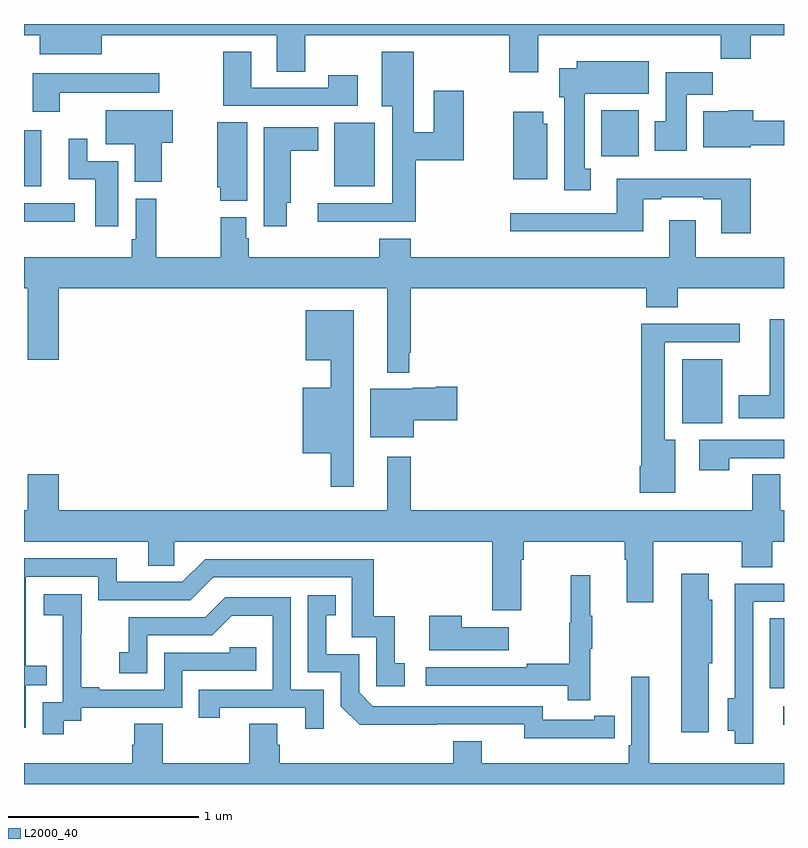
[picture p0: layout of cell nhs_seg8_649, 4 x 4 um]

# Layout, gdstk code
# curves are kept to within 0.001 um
import gdstk
lib = gdstk.Library(unit=1e-6, precision=1e-09)
def R(c, l, rs):  # rectangles x0, y0, x1, y1
    for r in rs: c.add(gdstk.rectangle(r[:2], r[2:], *l))
def P(c, l, *ps):  # polygons
    for p in ps: c.add(gdstk.Polygon(p, *l))
L2000_40 = (2000, 40)

nhs_seg8_649 = lib.new_cell('nhs_seg8_649')
R(nhs_seg8_649, L2000_40, [(156.996,1106.213,157,1106.31), (156.926,1106.403,157,1106.773), (156.464,1107.8,156.676,1108.135), (153,1109.045,153.091,1109.341), (154.634,1109.045,154.846,1109.38), (156.038,1109.204,156.235,1109.446)])
P(nhs_seg8_649, L2000_40, [(155.707,1109.84),(156.667,1109.84),(156.667,1109.716),(156.824,1109.716),(156.824,1109.84),(157,1109.84),(157,1109.9),(153,1109.9),(153,1109.84),(153.083,1109.84),(153.083,1109.741),(153.409,1109.741),(153.409,1109.84),(154.331,1109.84),(154.331,1109.65),(154.479,1109.65),(154.479,1109.84),(155.555,1109.84),(155.555,1109.646),(155.707,1109.646)],
  [(154.756,1109.629),(154.6,1109.629),(154.6,1109.565),(154.195,1109.565),(154.195,1109.755),(154.048,1109.755),(154.048,1109.469),(154.756,1109.469)],
  [(155.063,1109.183),(155.314,1109.183),(155.314,1109.548),(155.156,1109.548),(155.156,1109.33),(155.05,1109.33),(155.05,1109.755),(154.883,1109.755),(154.883,1109.468),(154.937,1109.468),(154.937,1108.956),(154.545,1108.956),(154.545,1108.859),(155.063,1108.859)],
  [(155.983,1109.138),(155.95,1109.138),(155.95,1109.534),(156.289,1109.534),(156.289,1109.704),(155.909,1109.704),(155.909,1109.668),(155.816,1109.668),(155.816,1109.514),(155.843,1109.514),(155.843,1109.025),(155.983,1109.025)],
  [(156.487,1109.528),(156.626,1109.528),(156.626,1109.646),(156.377,1109.646),(156.377,1109.388),(156.32,1109.388),(156.32,1109.232),(156.487,1109.232)],
  [(153.187,1109.537),(153.712,1109.537),(153.712,1109.641),(153.047,1109.641),(153.047,1109.439),(153.187,1109.439)],
  [(156.826,1109.263),(157,1109.263),(157,1109.392),(156.839,1109.392),(156.839,1109.446),(156.708,1109.446),(156.708,1109.44),(156.575,1109.44),(156.575,1109.252),(156.826,1109.252)],
  [(153.724,1109.276),(153.784,1109.276),(153.784,1109.446),(153.431,1109.446),(153.431,1109.267),(153.584,1109.267),(153.584,1109.07),(153.724,1109.07)],
  [(155.755,1109.376),(155.734,1109.376),(155.734,1109.437),(155.576,1109.437),(155.576,1109.084),(155.755,1109.084)],
  [(154.174,1109.384),(154.016,1109.384),(154.016,1109.04),(154.033,1109.04),(154.033,1108.969),(154.174,1108.969)],
  [(154.384,1108.959),(154.405,1108.959),(154.405,1109.234),(154.549,1109.234),(154.549,1109.356),(154.262,1109.356),(154.262,1108.836),(154.384,1108.836)],
  [(153.496,1109.178),(153.333,1109.178),(153.333,1109.296),(153.236,1109.296),(153.236,1109.082),(153.374,1109.082),(153.374,1108.836),(153.496,1108.836)],
  [(156.824,1109.086),(156.119,1109.086),(156.119,1108.905),(155.559,1108.905),(155.559,1108.808),(156.259,1108.808),(156.259,1108.977),(156.355,1108.977),(156.355,1108.989),(156.575,1108.989),(156.575,1108.977),(156.671,1108.977),(156.671,1108.8),(156.824,1108.8)],
  [(156.395,1108.672),(155.036,1108.672),(155.036,1108.771),(154.871,1108.771),(154.871,1108.672),(154.184,1108.672),(154.184,1108.773),(154.171,1108.773),(154.171,1108.884),(154.036,1108.884),(154.036,1108.672),(153.697,1108.672),(153.697,1108.981),(153.588,1108.981),(153.588,1108.768),(153.568,1108.768),(153.568,1108.672),(153,1108.672),(153,1108.508),(153.02,1108.508),(153.02,1108.134),(153.184,1108.134),(153.184,1108.508),(154.913,1108.508),(154.913,1108.064),(155.027,1108.064),(155.027,1108.171),(155.035,1108.171),(155.035,1108.508),(156.275,1108.508),(156.275,1108.409),(156.44,1108.409),(156.44,1108.508),(157,1108.508),(157,1108.672),(156.535,1108.672),(156.535,1108.867),(156.395,1108.867)],
  [(153.268,1108.956),(153,1108.956),(153,1108.86),(153.031,1108.86),(153.031,1108.859),(153.268,1108.859)],
  [(154.735,1108.393),(154.484,1108.393),(154.484,1108.13),(154.614,1108.13),(154.614,1107.985),(154.466,1107.985),(154.466,1107.641),(154.614,1107.641),(154.614,1107.465),(154.735,1107.465)],
  [(157,1108.345),(156.926,1108.345),(156.926,1107.946),(156.761,1107.946),(156.761,1107.824),(157,1107.824)],
  [(156.427,1107.712),(156.373,1107.712),(156.373,1108.224),(156.766,1108.224),(156.766,1108.322),(156.248,1108.322),(156.248,1107.573),(156.242,1107.573),(156.242,1107.434),(156.427,1107.434)],
  [(155.05,1107.814),(155.281,1107.814),(155.281,1107.992),(155.168,1107.992),(155.168,1107.985),(155.046,1107.985),(155.046,1107.979),(154.823,1107.979),(154.823,1107.725),(155.05,1107.725)],
  [(156.711,1107.615),(157,1107.615),(157,1107.711),(156.555,1107.711),(156.555,1107.552),(156.711,1107.552)],
  [(155.617,1107.08),(155.63,1107.08),(155.63,1107.176),(156.161,1107.176),(156.161,1107.08),(156.173,1107.08),(156.173,1106.856),(156.313,1106.856),(156.313,1107.176),(156.778,1107.176),(156.778,1107.04),(156.938,1107.04),(156.938,1107.176),(157,1107.176),(157,1107.34),(156.979,1107.34),(156.979,1107.53),(156.832,1107.53),(156.832,1107.34),(155.035,1107.34),(155.035,1107.622),(154.913,1107.622),(154.913,1107.34),(153.184,1107.34),(153.184,1107.529),(153.02,1107.529),(153.02,1107.34),(153,1107.34),(153,1107.176),(153.653,1107.176),(153.653,1107.049),(153.792,1107.049),(153.792,1107.176),(155.465,1107.176),(155.465,1106.814),(155.617,1106.814)],
  [(153.009,1106.421),(153.119,1106.421),(153.119,1106.522),(153.009,1106.522),(153.009,1106.991),(153.39,1106.991),(153.39,1106.868),(153.876,1106.868),(153.996,1106.988),(154.725,1106.988),(154.725,1106.673),(154.854,1106.673),(154.854,1106.415),(155.005,1106.415),(155.005,1106.535),(154.952,1106.535),(154.952,1106.782),(154.841,1106.782),(154.841,1107.084),(153.954,1107.084),(153.834,1106.964),(153.487,1106.964),(153.487,1107.087),(153,1107.087),(153,1106.196),(153.009,1106.196)],
  [(156.604,1106.535),(156.622,1106.535),(156.622,1106.871),(156.604,1106.871),(156.604,1107.007),(156.458,1107.007),(156.458,1106.172),(156.604,1106.172)],
  [(155.981,1106.611),(155.992,1106.611),(155.992,1106.785),(155.981,1106.785),(155.981,1106.998),(155.878,1106.998),(155.878,1106.748),(155.871,1106.748),(155.871,1106.534),(155.647,1106.534),(155.647,1106.514),(155.115,1106.514),(155.115,1106.418),(155.863,1106.418),(155.863,1106.34),(155.981,1106.34)],
  [(156.838,1106.334),(156.837,1106.334),(156.837,1106.859),(157,1106.859),(157,1106.955),(156.741,1106.955),(156.741,1106.351),(156.704,1106.351),(156.704,1106.18),(156.74,1106.18),(156.74,1106.112),(156.838,1106.112)],
  [(153.208,1106.233),(153.3,1106.233),(153.3,1106.301),(153.834,1106.301),(153.834,1106.496),(154.223,1106.496),(154.223,1106.619),(154.083,1106.619),(154.083,1106.592),(153.738,1106.592),(153.738,1106.397),(153.397,1106.397),(153.397,1106.41),(153.302,1106.41),(153.302,1106.693),(153.303,1106.693),(153.303,1106.899),(153.105,1106.899),(153.105,1106.789),(153.203,1106.789),(153.203,1106.561),(153.204,1106.561),(153.204,1106.331),(153.099,1106.331),(153.099,1106.163),(153.208,1106.163)],
  [(156.002,1106.142),(156.11,1106.142),(156.11,1106.258),(156.002,1106.258),(156.002,1106.238),(155.73,1106.238),(155.73,1106.31),(154.836,1106.31),(154.764,1106.382),(154.764,1106.583),(154.591,1106.583),(154.591,1106.787),(154.64,1106.787),(154.64,1106.893),(154.494,1106.893),(154.494,1106.487),(154.668,1106.487),(154.668,1106.31),(154.766,1106.213),(155.634,1106.214),(155.634,1106.141)],
  [(154.578,1106.397),(154.404,1106.397),(154.404,1106.883),(154.058,1106.883),(153.953,1106.778),(153.55,1106.778),(153.55,1106.593),(153.501,1106.593),(153.501,1106.484),(153.648,1106.484),(153.648,1106.682),(153.99,1106.682),(154.094,1106.786),(154.308,1106.786),(154.308,1106.397),(153.919,1106.397),(153.919,1106.25),(154.03,1106.25),(154.03,1106.301),(154.481,1106.301),(154.481,1106.19),(154.578,1106.19)],
  [(155.551,1106.725),(155.303,1106.725),(155.303,1106.785),(155.132,1106.785),(155.132,1106.603),(155.551,1106.603)],
  [(157,1106.008),(156.292,1106.008),(156.292,1106.464),(156.195,1106.464),(156.195,1106.104),(156.182,1106.104),(156.182,1106.008),(155.41,1106.008),(155.41,1106.125),(155.258,1106.125),(155.258,1106.008),(154.346,1106.008),(154.346,1106.106),(154.333,1106.106),(154.333,1106.216),(154.186,1106.216),(154.186,1106.008),(153.729,1106.008),(153.729,1106.216),(153.581,1106.216),(153.581,1106.106),(153.569,1106.106),(153.569,1106.008),(153,1106.008),(153,1105.9),(157,1105.9)])

lib.write_gds('nhs_seg8_649.gds')
